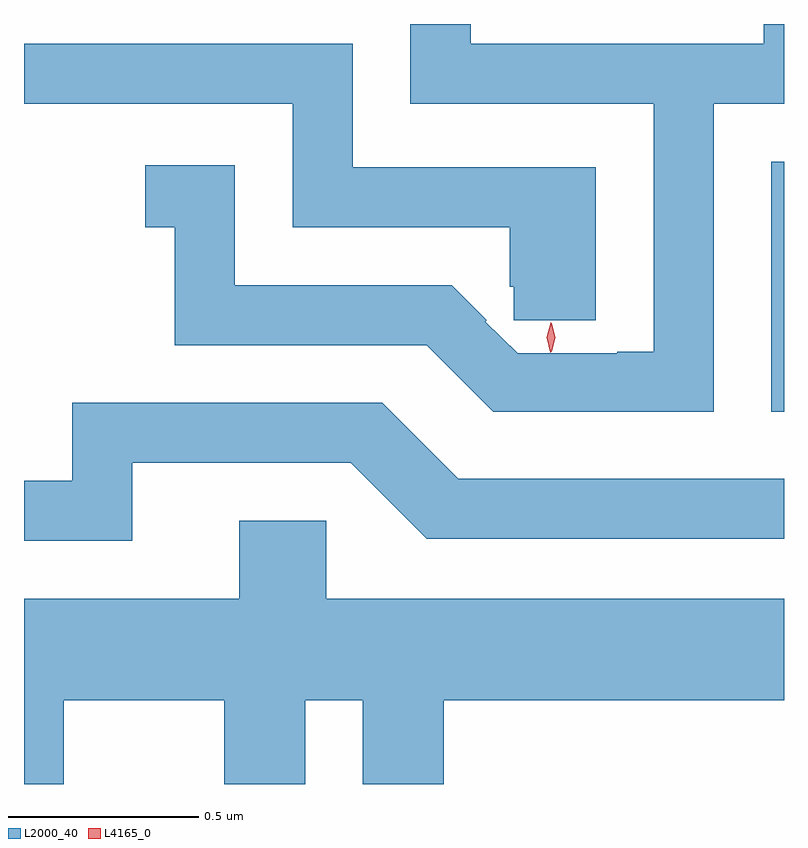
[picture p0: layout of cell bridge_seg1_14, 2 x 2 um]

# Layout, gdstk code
import gdstk
lib = gdstk.Library(unit=1e-6, precision=1e-09)
def R(c, l, rs):  # rectangles x0, y0, x1, y1
    for r in rs: c.add(gdstk.rectangle(r[:2], r[2:], *l))
def P(c, l, *ps):  # polygons
    for p in ps: c.add(gdstk.Polygon(p, *l))
L2000_40 = (2000, 40)
L4165_0 = (4165, 0)

bridge_seg1_14 = lib.new_cell('bridge_seg1_14')
R(bridge_seg1_14, L2000_40, [(1485.891,864.816,1485.924,865.474)])
P(bridge_seg1_14, L2000_40, [(1485.739,865.626),(1485.924,865.626),(1485.924,865.836),(1485.871,865.836),(1485.871,865.784),(1485.099,865.784),(1485.099,865.836),(1484.941,865.836),(1484.941,865.626),(1485.581,865.626),(1485.581,864.974),(1485.485,864.974),(1485.485,864.969),(1485.223,864.969),(1485.138,865.053),(1485.142,865.057),(1485.049,865.149),(1484.479,865.149),(1484.479,865.464),(1484.243,865.464),(1484.243,865.301),(1484.321,865.301),(1484.321,864.991),(1484.984,864.991),(1485.159,864.816),(1485.739,864.816)],
  [(1485.429,865.459),(1484.789,865.459),(1484.789,865.784),(1483.924,865.784),(1483.924,865.626),(1484.631,865.626),(1484.631,865.301),(1485.202,865.301),(1485.202,865.145),(1485.213,865.145),(1485.213,865.057),(1485.429,865.057)],
  [(1484.209,864.681),(1484.784,864.681),(1484.984,864.481),(1485.924,864.481),(1485.924,864.639),(1485.067,864.639),(1484.867,864.839),(1484.051,864.839),(1484.051,864.634),(1483.924,864.634),(1483.924,864.476),(1484.209,864.476)],
  [(1484.029,864.056),(1484.451,864.056),(1484.451,863.836),(1484.664,863.836),(1484.664,864.056),(1484.816,864.056),(1484.816,863.836),(1485.029,863.836),(1485.029,864.056),(1485.924,864.056),(1485.924,864.324),(1484.719,864.324),(1484.719,864.529),(1484.491,864.529),(1484.491,864.324),(1483.924,864.324),(1483.924,863.836),(1484.029,863.836)])
P(bridge_seg1_14, L4165_0, [(1485.309,864.972),(1485.3,865.012),(1485.31,865.05),(1485.31,865.051),(1485.31,865.05),(1485.32,865.011),(1485.31,864.972),(1485.31,864.972)],
  [(1485.312,864.974),(1485.312,864.975),(1485.302,865.011),(1485.312,865.048),(1485.312,865.048),(1485.313,865.048),(1485.322,865.011),(1485.313,864.975)])

lib.write_gds('bridge_seg1_14.gds')
